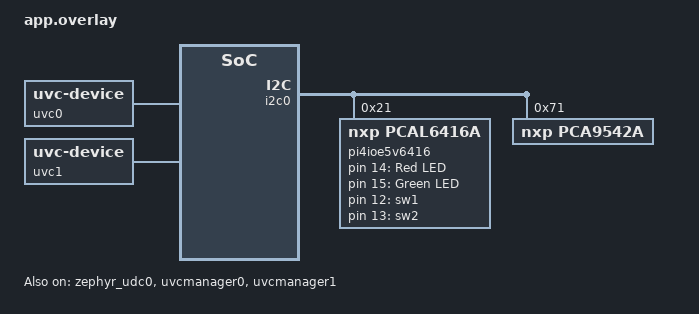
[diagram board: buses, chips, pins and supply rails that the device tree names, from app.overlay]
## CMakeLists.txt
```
# Copyright (c) 2024 tinyVision.ai Inc.
# SPDX-License-Identifier: Apache-2.0

cmake_minimum_required(VERSION 3.20.0)
find_package(Zephyr REQUIRED HINTS $ENV{ZEPHYR_BASE})
project(app)
target_sources(app PRIVATE src/usb.c)
target_sources(app PRIVATE src/main.c)
target_sources(app PRIVATE src/cam_test.c)
# target_sources(app PRIVATE src/lattice_rx_dphy.c)

# Run some code from RAM for performance during enumeration
zephyr_code_relocate(LIBRARY drivers__usb__udc LOCATION RAM)
zephyr_code_relocate(LIBRARY drivers__usbd LOCATION RAM)
```

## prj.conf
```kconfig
CONFIG_MINIMAL_LIBC=y
CONFIG_ASSERT=n
CONFIG_HEAP_MEM_POOL_SIZE=128

# USB
CONFIG_UDC_DRIVER=y
CONFIG_USB_DEVICE_STACK_NEXT=y
CONFIG_USBD_VIDEO_CLASS=y
CONFIG_UDC_BUF_COUNT=32
CONFIG_UDC_BUF_POOL_SIZE=2048

# VIDEO
CONFIG_VIDEO=y
CONFIG_VIDEO_BUFFER_POOL_SZ_MAX=4096
CONFIG_VIDEO_BUFFER_POOL_NUM_MAX=1

# LOG
CONFIG_LOG=y
CONFIG_LOG_MODE_MINIMAL=y
# CONFIG_UDC_DRIVER_LOG_LEVEL_WRN=y
# CONFIG_USBD_LOG_LEVEL_WRN=y
# CONFIG_USBD_VIDEO_LOG_LEVEL_DBG=y
# CONFIG_VIDEO_LOG_LEVEL_DBG=y
# CONFIG_GPIO_LOG_LEVEL_DBG=y

CONFIG_GPIO=y
```

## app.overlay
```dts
/*
 * Copyright (c) 2025 tinyVision.ai Inc.
 *
 * SPDX-License-Identifier: Apache-2.0
 */

#include <riscv/tinyvision/tinyclunx33_add_opencores_i2c.dtsi>
#include <riscv/tinyvision/tinyclunx33_add_uvcmanager0.dtsi>
#include <riscv/tinyvision/tinyclunx33_add_debayer0.dtsi>
#include <riscv/tinyvision/tinyclunx33_add_uvcmanager1.dtsi>
#include <riscv/tinyvision/tinyclunx33_add_debayer1.dtsi>
#include <zephyr/dt-bindings/gpio/gpio.h>

/ {
	chosen {
		zephyr,shell-uart = &uart0;
	};

	aliases {
        led0 = &led0;
		led1 = &led1;
		sw1 = &sw1;
		sw2 = &sw2;
    };

	leds {
		compatible = "gpio-leds";
		led0: led_0 {
			gpios = <&pi4ioe5v6416 14 GPIO_ACTIVE_HIGH>;
			label = "Red LED";
		};
		led1: led_1 {
			gpios = <&pi4ioe5v6416 15 GPIO_ACTIVE_HIGH>;
			label = "Green LED";
		};
	};

	buttons {
		compatible = "gpio-keys";
		sw1: sw1 {
			gpios = < &pi4ioe5v6416 12 (GPIO_PULL_UP | GPIO_ACTIVE_HIGH) >;
			label = "sw1";
			
		};
		sw2: sw2 {
			gpios = < &pi4ioe5v6416 13 (GPIO_PULL_UP | GPIO_ACTIVE_HIGH) >;
			label = "sw2";
			
		};
	};

};

/* USB interfaces */

&zephyr_udc0 {
	num-in-endpoints = <4>;
	num-out-endpoints = <2>;
	status = "okay";
	
	uvc0: uvc0 {
		compatible = "zephyr,uvc-device";
	};
	
	uvc1: uvc1 {
		compatible = "zephyr,uvc-device";
	};
};

&uvcmanager0 {
	status = "okay";
};

&uvcmanager0_ep_in {
	remote-endpoint-label = "ar01440_ep_out";
};

&uvcmanager1 {
	status = "okay";
};

&uvcmanager1_ep_in {
	remote-endpoint-label = "ar01441_ep_out";
};


&i2c0 {
	status = "okay";
	pi4ioe5v6416: pi4ioe5v6416@21 {
		compatible = "nxp,pcal6416a";
		reg = <0x21>;
		gpio-controller;
		#gpio-cells = <2>;
		ngpios = <16>;
	};

	pca9542a@71 {
		compatible = "nxp,pca9542a";
		reg = <0x71>;
		#address-cells = <1>;
		#size-cells = <0>;
		
		ch@1 {
			compatible = "nxp,pca9542a-channel";
			reg = <1>;
			#address-cells = <1>;
			#size-cells = <0>;
			
			ar0144: ar0144@18 {
				compatible = "onnn,ar0144";
				reg = <0x18>;
				port {
					ar01440_ep_out: endpoint {
						remote-endpoint-label = "uvcmanager0_ep_in";
					};
				};
				zephyr,deferred-init;
			};
		};

		ch@0 {
			compatible = "nxp,pca9542a-channel";
			reg = <0>;
			#address-cells = <1>;
			#size-cells = <0>;
			
			ar0144_2: ar0144_2@18 {
				compatible = "onnn,ar0144";
				reg = <0x18>;
				port {
					ar01441_ep_out: endpoint {
						remote-endpoint-label = "uvcmanager1_ep_in";
					};
				};
				zephyr,deferred-init;
			};
		};
	};
};
```

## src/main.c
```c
#include <zephyr/drivers/usb/udc.h>
#include <zephyr/usb/usbd.h>
#include <zephyr/usb/bos.h>
#include <zephyr/logging/log.h>
#include <zephyr/drivers/i2c.h>
#include <zephyr/shell/shell.h>
#include "cam_test.h"

LOG_MODULE_REGISTER(main, LOG_LEVEL_ERR);

const struct device *uvc0_dev = DEVICE_DT_GET(DT_NODELABEL(uvc0));
const struct device *uvcmanager0_dev = DEVICE_DT_GET(DT_NODELABEL(uvcmanager0));

const struct device *uvc1_dev = DEVICE_DT_GET(DT_NODELABEL(uvc1));
const struct device *uvcmanager1_dev = DEVICE_DT_GET(DT_NODELABEL(uvcmanager1));

static int cmd_mipi_init_regs(void)
{
    volatile uint32_t *mipi_base = (volatile uint32_t *)0xb2000400;
    // Setup the REF_DT to RAW8
    mipi_base[0x27] = 0x2A;
    // Set the settle time
    mipi_base[0x36] = 0x6;
    return 0;   
}

static int cmd_mipi2_init_regs(void)
{
    volatile uint32_t *mipi_base = (volatile uint32_t *)0xb2100400;
    // Setup the REF_DT to RAW8
    mipi_base[0x27] = 0x2A;
    // Set the settle time
    mipi_base[0x36] = 0x6;
    return 0;   
}

int main(void)
{
	int ret;

    ret = cmd_mipi_init_regs();
    ret = cmd_mipi2_init_regs();
	uvc_set_video_dev(uvc0_dev, uvcmanager0_dev);
    uvc_set_video_dev(uvc1_dev, uvcmanager1_dev);

	ret = app_usb_init();
	if (ret != 0) {
		LOG_ERR("Failed to initialize USB");
		return ret;
	}
    ar0144Init();
	return 0;
}
```

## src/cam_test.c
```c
// #include <stdio.h>
// #include <zephyr/shell/shell.h>
// #include <zephyr/devicetree.h>
// #include <zephyr/device.h>
// #include <zephyr/logging/log.h>
// #include <zephyr/kernel.h>
// #include <zephyr/drivers/i2c.h>
// #include <zephyr/drivers/video.h>
// #include <zephyr/drivers/gpio.h>
// #include <inttypes.h>
// #include <zephyr/sys/util.h>
// #include <stdbool.h>

#include "cam_test.h"

LOG_MODULE_REGISTER(app_cam2_init, LOG_LEVEL_DBG);

#define SW1_NODE        DT_ALIAS(sw1)
#if DT_NODE_HAS_STATUS(SW1_NODE, okay)
static struct gpio_dt_spec sw1_spec = GPIO_DT_SPEC_GET(SW1_NODE, gpios);
#endif

#define SW2_NODE        DT_ALIAS(sw2)
#if DT_NODE_HAS_STATUS(SW2_NODE, okay)
static struct gpio_dt_spec sw2_spec = GPIO_DT_SPEC_GET(SW2_NODE, gpios);
#endif

#define LED0_NODE DT_ALIAS(led0)
#if DT_NODE_HAS_STATUS(LED0_NODE, okay)
static const struct gpio_dt_spec led0 = GPIO_DT_SPEC_GET(LED0_NODE, gpios);
#endif

#define LED1_NODE DT_ALIAS(led1)
#if DT_NODE_HAS_STATUS(LED1_NODE, okay)
static const struct gpio_dt_spec led1 = GPIO_DT_SPEC_GET(LED1_NODE, gpios);
#endif

#define CAM0_FAILED (1<<0)
#define CAM1_FAILED (1<<1)

uint8_t flag = 0;

static void reg_32b_read_2(uint32_t addr, uint32_t *val)
{
	*val = *((volatile unsigned int *)addr);
}

struct camData{
    bool test_result;
    uint8_t fps;
    uint16_t rows, columns;
    uint32_t r_value, gr_value, gb_value, b_value, frame_count;

};  

static bool buttonFn(const struct gpio_dt_spec *sw_spec){
	int ret;

	if (!gpio_is_ready_dt(sw_spec)) {
		printf("%s is not ready\n", sw_spec->port->name);
		return false;
	}

    ret = gpio_pin_configure_dt(sw_spec, GPIO_INPUT);
    if (ret < 0) {
        printf("Error: Failed to configure button pin\n");
        return false;
    }

	int val = gpio_pin_get_dt(sw_spec);
	if (val > 0) {  
		
		while (gpio_pin_get_dt(sw_spec) > 0) {
			k_msleep(10);
		}
		return true;
	}
   return false;
}

static int ledControl(const struct gpio_dt_spec *spec, int value){
	int ret;

	if (!gpio_is_ready_dt(spec)) {
		printf("%s is not ready\n", spec->port->name);
		return -1;
	}

    ret = gpio_pin_configure_dt(spec, GPIO_OUTPUT_INACTIVE);
    if (ret < 0) {
        printf("Error: Failed to configure button pin\n");
        return -1;
    }

	ret = gpio_pin_set_dt(spec, value);
	if (ret < 0) {
		return -1;
	}
	return 0;
}

static int configurePins(const struct device *dev, uint8_t port, uint8_t config_mask){
    if (!device_is_ready(dev)) {
        printf("pi4iOe5v6416 device not ready!\n");
        return -1;
    }
	uint8_t start_pin = port * 8;  
	uint8_t end_pin = start_pin + 8; 
    for (uint8_t pin = start_pin; pin < end_pin; pin++) {
        if (config_mask & (1 << pin)) {
            int ret = gpio_pin_configure(dev, pin, GPIO_OUTPUT_INACTIVE);
            if (ret != 0) {
                printf("Failed to configure pin %d as output (error %d)\n", pin, ret);
            }
        } else {
            int ret = gpio_pin_configure(dev, pin, GPIO_OUTPUT_INACTIVE);
            if (ret != 0) {
                printf("Failed to configure pin %d as input (error %d)\n", pin, ret);
            }
        }
    }

	return 0;
}

static int setPinValues(const struct device *dev, uint8_t port, uint8_t mask){

    if (!device_is_ready(dev)) {
        printf("pi4iOe5v6416 device not ready!\n");
        return -1;
    }
	int ret;
	uint8_t start_pin = port * 8;  
	uint8_t end_pin = start_pin + 8; 

    for (int pin = start_pin; pin < end_pin; pin++) {
        int value = (mask & (1 << pin)) ? 1 : 0;
        ret = gpio_pin_set(dev, pin, value);
		if (ret < 0) {
			return -1;
		}
		k_sleep(K_MSEC(10));
    }

	return 0;
}

static int camInit(const struct device *dev){
	int err;
	err = device_init(dev);	
	if (err) {
		return err;
	}

	LOG_DBG("Camera driver initialized successfully...");
	return 0;
}

static int camStart(const struct device *dev){

	if (video_stream_start(dev)) {
		return -1;
	}
	LOG_DBG("%s : Cam streaming.", dev->name);
	return 0;
}

static int camStop(const struct device *dev){
    flag = 0;

	if (video_stream_stop(dev)) {
		return -1;
	}
	LOG_DBG("%s : Cam stopped.", dev->name);
	return 0;
}

static int checkCsr(const int *cam, struct camData *data){
    uint32_t frame_count_1, frame_count_2, 
        frame_count_addr, res_addr, res_value,
        r_addr, gr_addr, gb_addr, b_addr,
        r_value, gr_value, gb_value, b_value;

    if(*cam == 0){
        printf("inside cam 0 csr \n");
        frame_count_addr = 0xb2000010;
        res_addr = 0xb2000014;
        r_addr = 0xb200001c;
        gr_addr = 0xb2000020;
        gb_addr = 0xb2000024;
        b_addr = 0xb2000028;
    } else {
        printf("inside cam 1 csr \n");
        frame_count_addr = 0xb2100010;
        res_addr = 0xb2100014;
        r_addr = 0xb210001c;
        gr_addr = 0xb2100020;
        gb_addr = 0xb2100024;
        b_addr = 0xb2100028;
    }
    reg_32b_read_2(frame_count_addr, &frame_count_1);
    k_sleep(K_MSEC(1000));
    reg_32b_read_2(frame_count_addr, &frame_count_2);
    reg_32b_read_2(res_addr, &res_value);
    reg_32b_read_2(r_addr, &r_value);
    reg_32b_read_2(gr_addr, &gr_value);
    reg_32b_read_2(gb_addr, &gb_value);
    reg_32b_read_2(b_addr, &b_value);
    data->rows = (res_value >> 16) & 0xFFFF;
    data->columns = res_value & 0xFFFF;
    data->r_value = r_value;
    data->gr_value = gr_value;
    data->gb_value = gb_value;
    data->b_value = b_value;
    data->fps = frame_count_2-frame_count_1; 
    data->frame_count = frame_count_2;
    if(frame_count_1 < frame_count_2){
        data->test_result = true;
        return 0;
    }
    data->test_result = false;
	return -1;
}

void printRow(const char *label, const char *val1, const char *val2) {
    printf("| %-12s | %-28s | %-28s |\n", label, val1, val2);
}

void printTable(struct camData *dev1, struct camData *dev2) {

    printf("| %-12s | %-28s | %-28s |\n", "Data", "CAM1", "CAM2");
    printf("|--------------|------------------------------|------------------------------|\n");
    // printRow("Result", dev1->test_result ? "Pass" : "Fail", dev2->test_result ? "Pass" : "Fail");
    printf("| %-12s | %-28s | %-28s |\n", "Result", dev1->test_result ? "Pass" : "Fail", dev2->test_result ? "Pass" : "Fail");
    // printf("| %-12s | %-28d | %-28d |\n", "FPS", dev1->fps, dev2->fps);       // Uncomment this for fps
    printf("| %-12s | %-28u | %-28u |\n", "Frame Count ", dev1->frame_count, dev2->frame_count);
    printf("| %-12s | %-28d | %-28d |\n", "Rows", dev1->rows, dev2->rows);
    printf("| %-12s | %-28d | %-28d |\n", "Columns", dev1->columns, dev2->columns);
    printf("| %-12s | %-28u | %-28u |\n", "Red ", dev1->r_value, dev2->r_value);
    printf("| %-12s | %-28u | %-28u |\n", "Green - Red", dev1->gr_value, dev2->gr_value);
    printf("| %-12s | %-28u | %-28u |\n", "Green - Blue", dev1->gb_value, dev2->gb_value);
    printf("| %-12s | %-28u | %-28u |\n", "Blue", dev1->b_value, dev2->b_value);
}

void clearData(struct camData *data){
    data->test_result = false;
    data->rows = 0;
    data->columns = 0;
    data->fps = 0;
    data->r_value = 0;
    data->gr_value = 0;
    data->gb_value = 0;
    data->b_value = 0;
    data->frame_count = 0;
}
 
int ar0144Init(void)
{
    static const struct device *io_dev = DEVICE_DT_GET(DT_NODELABEL(pi4ioe5v6416));
    if (!device_is_ready(io_dev)) {
        LOG_ERR("I2C device not ready");
        return -ENODEV;
    }
    static const struct device *cam1 = DEVICE_DT_GET(DT_NODELABEL(ar0144));
	static const struct device *cam2 = DEVICE_DT_GET(DT_NODELABEL(ar0144_2));
    struct camData *cam1_data = NULL;
    struct camData *cam2_data = NULL;
    int cam1_val = 0;
    int cam2_val = 1;

    ledControl(&led0, 0);
	ledControl(&led1, 0);
    while(1){
        int ret;
        cam1_data = k_malloc(sizeof(struct camData));
        if(cam1_data == NULL){
            LOG_ERR("Failed to allocate memory.");
            break;
        }
        cam2_data = k_malloc(sizeof(struct camData));
        if(cam2_data == NULL){
            LOG_ERR("Failed to allocate memory.");
            break;
        }
        LOG_INF("Press SW1 to start the testing if camera is connected.");
        while(!buttonFn(&sw1_spec)){
			k_msleep(10);
		}
		LOG_INF("Camera Start button pressed.");

         /* Configure io expander */
		ret = configurePins(io_dev, 0, 0x00);
		if(ret < 0){
			LOG_ERR("Unable to turn on the camera.");
		}

		ret = setPinValues(io_dev, 0, 0xc7);
		if(ret < 0){
			LOG_ERR("Unable to turn on the camera.");
		}   
        
        ret = camInit(cam1); 
        if(ret  == 0){
            ret = camStart(cam1);
            if(ret == 0){
            	ret = checkCsr(&cam1_val, cam1_data);
                if(ret < 0){
                    flag |= CAM0_FAILED;
                    clearData(cam1_data);
                    LOG_ERR("No frame count for CAM 1.");
                }
            } else {
                flag |= CAM0_FAILED;
                clearData(cam1_data);
                LOG_ERR("Unable to start capture for CAM 1.");
            } 
        } else{
            flag |= CAM0_FAILED;
            clearData(cam1_data);
			LOG_ERR("Unable to initialize CAM 1.");
		}

        ret = camInit(cam2); 
        if(ret  == 0){
            ret = camStart(cam2);
            if(ret == 0){
            	ret = checkCsr(&cam2_val, cam2_data);
                if(ret < 0){
                    flag |= CAM1_FAILED;
                    clearData(cam2_data);
                    LOG_ERR("No frame count for CAM 2.");
                }
            } else {
                flag |= CAM1_FAILED;
                clearData(cam2_data);
                LOG_ERR("Unable to start capture for CAM 2.");
            } 
        } else{
            flag |= CAM1_FAILED;
            clearData(cam2_data);
			LOG_ERR("Unable to initialize CAM 2.");
		}

        
        k_msleep(100);
        if(flag & CAM0_FAILED || flag & CAM1_FAILED){
			ledControl(&led0, 1);
		} else{
			ledControl(&led1, 1);
		}
        printTable(cam1_data, cam2_data);

        LOG_INF("Camera test finished, Press SW2 to continue.");

        /* Stop button */
		while(!buttonFn(&sw2_spec)){	
			k_msleep(10);
		}
		LOG_INF("Camera Stop button pressed!");
        // k_msleep(20);

        /* Stop Capture */
		ret = camStop(cam1);
        if(ret < 0){
			LOG_ERR("Unable to stop capture for CAM 1.");
		}
        // k_msleep(20);

        ret = camStop(cam2);
        if(ret < 0){
			LOG_ERR("Unable to stop capture for CAM 2.");
		}
        // k_msleep(20);
        ret = setPinValues(io_dev, 0, 0x00);
		if(ret < 0){
			LOG_ERR("Unable to power off the camera.");
		}
        // k_msleep(20);

		/* Turn off LEDs */
		ledControl(&led0, 0);
		ledControl(&led1, 0);

        k_free(cam1_data);
        k_free(cam2_data);
        LOG_INF("Replace the camera.");
		k_msleep(50);
    }
    
	return 0;
}

// SHELL_CMD_REGISTER(dual_cam_init, NULL, "AR0144 sensor test commands", ar0144Init);
```

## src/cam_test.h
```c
#ifndef CAM_TEST
#define CAM_TEST
#include <stdio.h>
#include <zephyr/shell/shell.h>
#include <zephyr/devicetree.h>
#include <zephyr/device.h>
#include <zephyr/logging/log.h>
#include <zephyr/kernel.h>
#include <zephyr/drivers/i2c.h>
#include <zephyr/drivers/video.h>
#include <zephyr/drivers/gpio.h>
#include <inttypes.h>
#include <zephyr/sys/util.h>
#include <stdbool.h>


int ar0144Init(void);

#endif 
```

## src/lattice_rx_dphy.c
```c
#include <zephyr/shell/shell.h>
#include "lattice_rx_dphy.h"

LOG_MODULE_REGISTER(lattice_rx_dphy, LOG_LEVEL_DBG);

static int cmd_mipi_dump_regs(const struct shell *sh, size_t argc, char **argv)
{
    if (argc != 1) {
        shell_error(sh, "Usage: mipi dump_regs (display MIPI CSI-2 registers)");
        return -EINVAL;
    }

    volatile uint32_t *mipi_base = (volatile uint32_t *)0xb2000400;
 
    volatile uint32_t reg_val;
    for (size_t i = 0; i < ARRAY_SIZE(lattice_rx_dphy_regs); i++) {
        reg_val = mipi_base[lattice_rx_dphy_regs[i].addr];
        shell_print(sh, "%-20s %02x: %08x",
                   lattice_rx_dphy_regs[i].name,
                   lattice_rx_dphy_regs[i].addr,
                   reg_val);
    }
    return 0;
}

static int cmd_mipi_init_regs(const struct shell *sh, size_t argc, char **argv)
{
    if (argc != 1) {
        shell_error(sh, "Usage: mipi init_regs (initialize MIPI CSI-2 registers)");
        return -EINVAL;
    }

    volatile uint32_t *mipi_base = (volatile uint32_t *)0xb2000400;
    // Setup the REF_DT to RAW8
    mipi_base[0x27] = 0x2A;
    // Set the settle time
    mipi_base[0x36] = 0x6;
    return 0;   
}

static int cmd_mipi_clear_errors(const struct shell *sh, size_t argc, char **argv)
{
    if (argc != 1) {
        shell_error(sh, "Usage: mipi clear (clear MIPI error registers)");
        return -EINVAL;
    }

    volatile uint32_t *mipi_base = (volatile uint32_t *)0xb2000400;
    
    // Clear error registers by writing 1 to them
    mipi_base[0x28] = 0xFF;
    mipi_base[0x32] = 0xFF;
    mipi_base[0x33] = 0xFF;
    mipi_base[0x34] = 0xFF;
    mipi_base[0x39] = 0xFF;
    
    shell_print(sh, "MIPI error registers cleared");
    return 0;
}

static int cmd_mipi_settle(const struct shell *sh, size_t argc, char **argv)
{
    if (argc != 2) {
        shell_error(sh, "Usage: mipi cil <+/-> (increment or decrement CIL)");
        return -EINVAL;
    }

    volatile uint32_t *mipi_base = (volatile uint32_t *)0xb2000400;
    uint32_t current_settle = mipi_base[0x36];
    uint32_t new_settle;

    if (argv[1][0] == '+') {
        new_settle = current_settle + 1;
    } else if (argv[1][0] == '-') {
        new_settle = current_settle - 1;
    } else {
        shell_error(sh, "Invalid argument - must be + or -");
        return -EINVAL;
    }

    mipi_base[0x36] = new_settle;
    shell_print(sh, "Settle register changed from 0x%x to 0x%x", current_settle, new_settle);
    return 0;
}

static int cmd_mipi_nocil_rxfifodel(const struct shell *sh, size_t argc, char **argv)
{
    if (argc != 2) {
        shell_error(sh, "Usage: mipi cil <+/-> (increment or decrement NOCIL_RXFIFODEL_LSB)");
        return -EINVAL;
    }

    volatile uint32_t *mipi_base = (volatile uint32_t *)0xb2000400;
    uint32_t current_delay = mipi_base[0x37];
    uint32_t new_delay;

    if (argv[1][0] == '+') {
        new_delay = current_delay + 1;
    } else if (argv[1][0] == '-') {
        new_delay = current_delay - 1;
    } else {
        shell_error(sh, "Invalid argument - must be + or -");
        return -EINVAL;
    }

    mipi_base[0x37] = new_delay;
    shell_print(sh, "NOCIL_RXFIFODEL_LSB register changed from 0x%x to 0x%x", current_delay, new_delay);
    return 0;
}

SHELL_STATIC_SUBCMD_SET_CREATE(mipi_cmds,
    SHELL_CMD(clear, NULL, "Clear MIPI CSI-2 error registers", cmd_mipi_clear_errors),
    SHELL_CMD(dump, NULL, "Display MIPI CSI-2 registers", cmd_mipi_dump_regs),
    SHELL_CMD(init, NULL, "Initialize MIPI CSI-2 registers", cmd_mipi_init_regs),
    SHELL_CMD(settle, NULL, "Increment or decrement Settle CYCLE register", cmd_mipi_settle),
    SHELL_CMD(delay, NULL, "Increment or decrement RXFIFODEL_LSB register", cmd_mipi_nocil_rxfifodel),
    SHELL_SUBCMD_SET_END
);

SHELL_CMD_REGISTER(mipi, &mipi_cmds, "MIPI CSI-2 commands", NULL);
```

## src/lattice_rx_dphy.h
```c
#ifndef LATTICE_RX_DPHY_H
#define LATTICE_RX_DPHY_H

#include <zephyr/types.h>

#define LATTICE_RX_DPHY_BASE 0xb2000400

/* Register access types */
#define REG_ACCESS_RW  0
#define REG_ACCESS_R   1  
#define REG_ACCESS_W1C 2

/* Register descriptor structure */
struct reg_desc {
    const char *name;
    uint32_t addr;
    uint8_t access;
    const char *description;
};

/* Packet Parser Registers */
static const struct reg_desc lattice_rx_dphy_regs[] = {
/*    {
        .name = "LANE_SETTING",
        .addr = 0x0A,
        .access = REG_ACCESS_RW,
        .description = "Number of Lane Select"
    },
*/
    {
        .name = "VC_DT",
        .addr = 0x1F,
        .access = REG_ACCESS_R,
        .description = "Virtual channel and Data type register"
    },
    {
        .name = "WCL",
        .addr = 0x20,
        .access = REG_ACCESS_R,
        .description = "Word count low register"
    },
    {
        .name = "WCH", 
        .addr = 0x21,
        .access = REG_ACCESS_R,
        .description = "Word count high register"
    },
    {
        .name = "ECC",
        .addr = 0x22,
        .access = REG_ACCESS_R,
        .description = "ECC register / Extended virtual channel ID"
    },
    {
        .name = "VC_DT2",
        .addr = 0x23,
        .access = REG_ACCESS_R,
        .description = "Virtual channel 2 and Data type 2 register"
    },
    {
        .name = "WC2L",
        .addr = 0x24,
        .access = REG_ACCESS_R,
        .description = "Word count 2 low register"
    },
    {
        .name = "WC2H",
        .addr = 0x25,
        .access = REG_ACCESS_R,
        .description = "Word count 2 high register"
    },
    {
        .name = "ECC2",
        .addr = 0x26,
        .access = REG_ACCESS_R,
        .description = "ECC 2 register"
    },
    {
        .name = "REFDT",
        .addr = 0x27,
        .access = REG_ACCESS_RW,
        .description = "Reference data type"
    },
    {
        .name = "ERROR_STATUS",
        .addr = 0x28,
        .access = REG_ACCESS_W1C,
        .description = "ECC and CRC error status"
    },
    {
        .name = "ERROR_STATUS_EN",
        .addr = 0x29,
        .access = REG_ACCESS_RW,
        .description = "ECC and CRC error status enable"
    },
    {
        .name = "CRC_BYTE_LOW",
        .addr = 0x30,
        .access = REG_ACCESS_R,
        .description = "Received payload CRC LSB"
    },
    {
        .name = "CRC_BYTE_HIGH",
        .addr = 0x31,
        .access = REG_ACCESS_R,
        .description = "Received payload CRC MSB"
    },
    {
        .name = "ERROR_CTRL",
        .addr = 0x32,
        .access = REG_ACCESS_W1C,
        .description = "Hard D-PHY control error"
    },
    {
        .name = "ERROR_HS_SOT",
        .addr = 0x33,
        .access = REG_ACCESS_W1C,
        .description = "Hard D-PHY Start-of-Transmit error"
    },
    {
        .name = "ERROR_HS_SOT_SYNC",
        .addr = 0x34,
        .access = REG_ACCESS_W1C,
        .description = "Hard D-PHY Start-of-Transmit sync error"
    },
    {
        .name = "CONTROL",
        .addr = 0x35,
        .access = REG_ACCESS_RW,
        .description = "Parser Controls"
    },
    {
        .name = "NOCIL_DSETTLE",
        .addr = 0x36,
        .access = REG_ACCESS_RW,
        .description = "Data Settle register"
    },
    {
        .name = "NOCIL_RXFIFODEL_LSB",
        .addr = 0x37,
        .access = REG_ACCESS_RW,
        .description = "RX_FIFO read delay LSB register"
    },
    {
        .name = "NOCIL_RXFIFODEL_MSB",
        .addr = 0x38,
        .access = REG_ACCESS_RW,
        .description = "RX_FIFO read delay MSB register"
    },
    {
        .name = "ERROR_SOT_SYNC_DET",
        .addr = 0x39,
        .access = REG_ACCESS_W1C,
        .description = "Soft D-PHY SOT sync detect error"
    }
};


#endif /* LATTICE_RX_DPHY_H */
```
